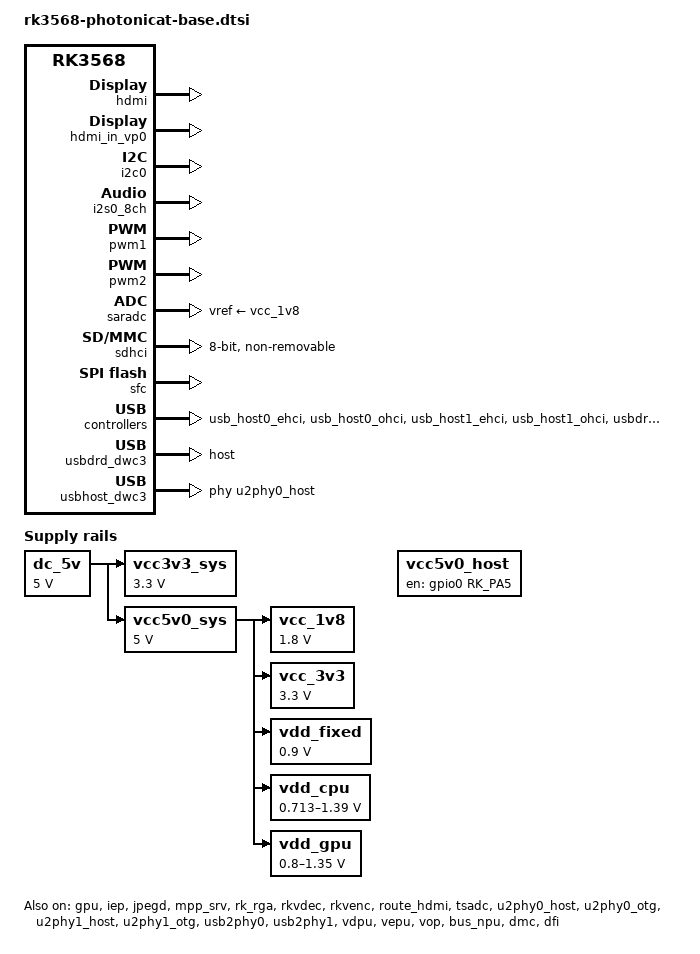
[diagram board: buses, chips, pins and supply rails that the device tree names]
// SPDX-License-Identifier: (GPL-2.0+ OR MIT)
/*
 * Copyright (c) 2020 Rockchip Electronics Co., Ltd.
 *
 */

#include "rk3568.dtsi"
#include <dt-bindings/gpio/gpio.h>
#include <dt-bindings/pinctrl/rockchip.h>
#include <dt-bindings/input/rk-input.h>
#include <dt-bindings/display/drm_mipi_dsi.h>
#include <dt-bindings/sensor-dev.h>

/ {
	dc_5v: dc-5v {
		compatible = "regulator-fixed";
		regulator-name = "dc_5v";
		regulator-always-on;
		regulator-boot-on;
		regulator-min-microvolt = <5000000>;
		regulator-max-microvolt = <5000000>;
	};

	hdmi_sound: hdmi-sound {
		compatible = "simple-audio-card";
		simple-audio-card,format = "i2s";
		simple-audio-card,mclk-fs = <128>;
		simple-audio-card,name = "hdmi-sound";
		status = "okay";

		simple-audio-card,cpu {
				sound-dai = <&i2s0_8ch>;
		};
		simple-audio-card,codec {
				sound-dai = <&hdmi>;
		};
	};
	spdif-sound {
		status = "disabled";
		compatible = "simple-audio-card";
		simple-audio-card,name = "ROCKCHIP,SPDIF";
		simple-audio-card,cpu {
				sound-dai = <&spdif_8ch>;
		};
		simple-audio-card,codec {
				sound-dai = <&spdif_out>;
		};
	};

	spdif_out: spdif-out {
			status = "disabled";
			compatible = "linux,spdif-dit";
			#sound-dai-cells = <0>;
	};

	vcc3v3_sys: vcc3v3-sys {
		compatible = "regulator-fixed";
		regulator-name = "vcc3v3_sys";
		regulator-always-on;
		regulator-boot-on;
		regulator-min-microvolt = <3300000>;
		regulator-max-microvolt = <3300000>;
		vin-supply = <&dc_5v>;
	};

	vcc5v0_sys: vcc5v0-sys {
		compatible = "regulator-fixed";
		regulator-name = "vcc5v0_sys";
		regulator-always-on;
		regulator-boot-on;
		regulator-min-microvolt = <5000000>;
		regulator-max-microvolt = <5000000>;
		vin-supply = <&dc_5v>;
	};

	vcc5v0_host: vcc5v0-host-regulator {
		compatible = "regulator-fixed";
		enable-active-high;
		gpio = <&gpio0 RK_PA5 GPIO_ACTIVE_HIGH>;
		pinctrl-names = "default";
		pinctrl-0 = <&vcc5v0_host_en>;
		regulator-name = "vcc5v0_host";
		regulator-always-on;
	};

	vcc_1v8: vcc_1v8 {
		compatible = "regulator-fixed";
		regulator-name = "vcc_1v8";
		regulator-always-on;
		regulator-boot-on;
		regulator-min-microvolt = <1800000>;
		regulator-max-microvolt = <1800000>;
		vin-supply = <&vcc5v0_sys>;
	};

	vcc_3v3: vcc_3v3{
		compatible = "regulator-fixed";
		regulator-name = "vcc_3v3";
		regulator-always-on;
		regulator-boot-on;
		regulator-min-microvolt = <3300000>;
		regulator-max-microvolt = <3300000>;
		vin-supply = <&vcc5v0_sys>;
	};

	vdd_fixed: vdd-fixed {
		compatible = "regulator-fixed";
		regulator-name = "vdd_fixed";
		regulator-min-microvolt = <900000>;
		regulator-max-microvolt = <900000>;
		regulator-always-on;
		regulator-boot-on;
		vin-supply = <&vcc5v0_sys>;
	};

	vdd_cpu: vdd-cpu {
		compatible = "pwm-regulator";
		pwms = <&pwm1 0 5000 1>;
		regulator-name = "vdd_cpu";
		regulator-min-microvolt = <712500>;
		regulator-max-microvolt = <1390000>;
		regulator-init-microvolt = <900000>;
		regulator-ramp-delay = <2300>;
		regulator-always-on;
		regulator-boot-on;
		regulator-settling-time-up-us = <250>;
		pwm-supply = <&vcc5v0_sys>;
		status = "okay";
	};

	vdd_gpu: vdd-gpu {
		compatible = "pwm-regulator";
		pwms = <&pwm2 0 5000 1>;
		regulator-name = "vdd_gpu";
		regulator-min-microvolt = <800000>;
		regulator-max-microvolt = <1350000>;
		regulator-init-microvolt = <900000>;
		regulator-ramp-delay = <6001>;
		regulator-always-on;
		regulator-boot-on;
		regulator-settling-time-up-us = <250>;
		pwm-supply = <&vcc5v0_sys>;
		status = "okay";
	};
};

&cpu0 {
	cpu-supply = <&vdd_cpu>;
};

&cpu0_opp_table {
	/delete-node/ opp-1992000000;
};

&CPU_SLEEP {
	status = "disabled";
};

&dsi0_in_vp0 {
	status = "disabled";
};

&dsi0_in_vp1 {
	status = "disabled";
};

&dsi1_in_vp0 {
	status = "disabled";
};

&dsi1_in_vp1 {
	status = "disabled";
};

&edp {
	status = "disabled";
};

&edp_in_vp0 {
	status = "disabled";
};

&edp_in_vp1 {
	status = "disabled";
};

&edp_phy {
	status = "disabled";
};

&gpu {
	mali-supply = <&vdd_gpu>;
	status = "okay";
};

&gpu_opp_table {
	/delete-node/ opp-800000000;
};

&hdmi {
	status = "okay";
	rockchip,phy-table =
		<92812500  0x8009 0x0000 0x0270>,
		<165000000 0x800b 0x0000 0x026d>,
		<185625000 0x800b 0x0000 0x01ed>,
		<297000000 0x800b 0x0000 0x01ad>,
		<594000000 0x8029 0x0000 0x0088>,
		<000000000 0x0000 0x0000 0x0000>;
};

&hdmi_in_vp0 {
	status = "okay";
};

&hdmi_in_vp1 {
	status = "disabled";
};

&i2c0 {
	status = "okay";
};

&i2s0_8ch {
	status = "okay";
};

&i2s1_8ch {
	status = "disabled";
};

&iep {
	status = "okay";
};

&iep_mmu {
	status = "okay";
};

&jpegd {
	status = "okay";
};

&jpegd_mmu {
	status = "okay";
};

&video_phy0 {
	status = "disabled";
};

&video_phy1 {
	status = "disabled";
};

&mpp_srv {
	status = "okay";
};

&pmu_io_domains {
	status = "okay";
	pmuio1-supply = <&vcc_3v3>;
	pmuio2-supply = <&vcc_3v3>;
	vccio1-supply = <&vcc_3v3>;
	vccio3-supply = <&vcc_3v3>;
	vccio4-supply = <&vcc_3v3>;
	vccio5-supply = <&vcc_3v3>;
	vccio6-supply = <&vcc_3v3>;
	vccio7-supply = <&vcc_3v3>;
};

&pwm1 {
	status = "okay";
	pinctrl-names = "active";
};

&pwm2 {
	status = "okay";
	pinctrl-names = "active";
};

&rk_rga {
	status = "okay";
};

&rknpu {
	rknpu-supply = <&vdd_gpu>;

	status = "disabled";
};

&rknpu_mmu {
	status = "disabled";
};

&rkvdec {
	rockchip,disable-auto-freq;
	assigned-clock-rates = <396000000>, <396000000>, <396000000>, <600000000>;
	status = "okay";
};

&rkvdec_mmu {
	status = "okay";
};

&rkvenc {
	status = "okay";
};

&rkvenc_mmu {
	venc-supply = <&vdd_cpu>;
	status = "okay";
};

&route_hdmi {
	status = "okay";
	connect = <&vp0_out_hdmi>;
};

&saradc {
	status = "okay";
	vref-supply = <&vcc_1v8>;
};

&sdhci {
	bus-width = <8>;
	supports-emmc;
	non-removable;
	status = "okay";
};

&sfc {
	status = "okay";
};

&spdif_8ch {
	status = "disabled";
};

&sram {
	reg = <0x0 0xfdcc0000 0x0 0x10000>;
	ranges = <0x0 0x0 0xfdcc0000 0x10000>;
};

&tsadc {
	status = "okay";
};

&u2phy0_host {
	phy-supply = <&vcc5v0_host>;
	status = "okay";
};

&u2phy0_otg {
	phy-supply = <&vcc5v0_host>;
	status = "okay";
};

&u2phy1_host {
	phy-supply = <&vcc5v0_host>;
	status = "okay";
};

&u2phy1_otg {
	phy-supply = <&vcc5v0_host>;
	status = "okay";
};

&usb2phy0 {
	status = "okay";
};

&usb2phy1 {
	status = "okay";
};

&usb_host0_ehci {
	status = "okay";
};

&usb_host0_ohci {
	status = "okay";
};

&usb_host1_ehci {
	status = "okay";
};

&usb_host1_ohci {
	status = "okay";
};

&usbdrd_dwc3 {
	dr_mode = "host";
	extcon = <&usb2phy0>;
	status = "okay";
};

&usbdrd30 {
	status = "okay";
};

&usbhost_dwc3 {
	phys = <&u2phy0_host>;
	phy-names = "usb2-phy";
	maximum-speed = "high-speed";
	status = "okay";
};

&usbhost30 {
	status = "okay";
};

&vdpu {
	status = "okay";
};

&vdpu_mmu {
	status = "okay";
};

&vepu {
	status = "okay";
};

&vepu_mmu {
	status = "okay";
};

&vop {
	status = "okay";
	assigned-clocks = <&cru DCLK_VOP0>, <&cru DCLK_VOP1>;
	assigned-clock-parents = <&pmucru PLL_HPLL>, <&cru PLL_VPLL>;
};

&vop_mmu {
	status = "okay";
};

&pinctrl {
	usb {
		vcc5v0_host_en: vcc5v0-host-en {
			rockchip,pins = <0 RK_PA5 RK_FUNC_GPIO &pcfg_pull_none>;
		};
	};

	wireless-bluetooth {
		uart1m0_gpios: uart1m0-gpios { 
			rockchip,pins = <2 RK_PB5 RK_FUNC_GPIO &pcfg_pull_none>;
		};
	};
};

&bus_npu {
        bus-supply = <&vdd_cpu>;
        pvtm-supply = <&vdd_cpu>;
        status = "okay";
};


&CPU_SLEEP {
        status = "disabled";
};

&dmc {
	center-supply = <&vdd_cpu>;
	auto-freq-en = <0>;
	status = "okay";
};

&dfi {
	status = "okay";
};
